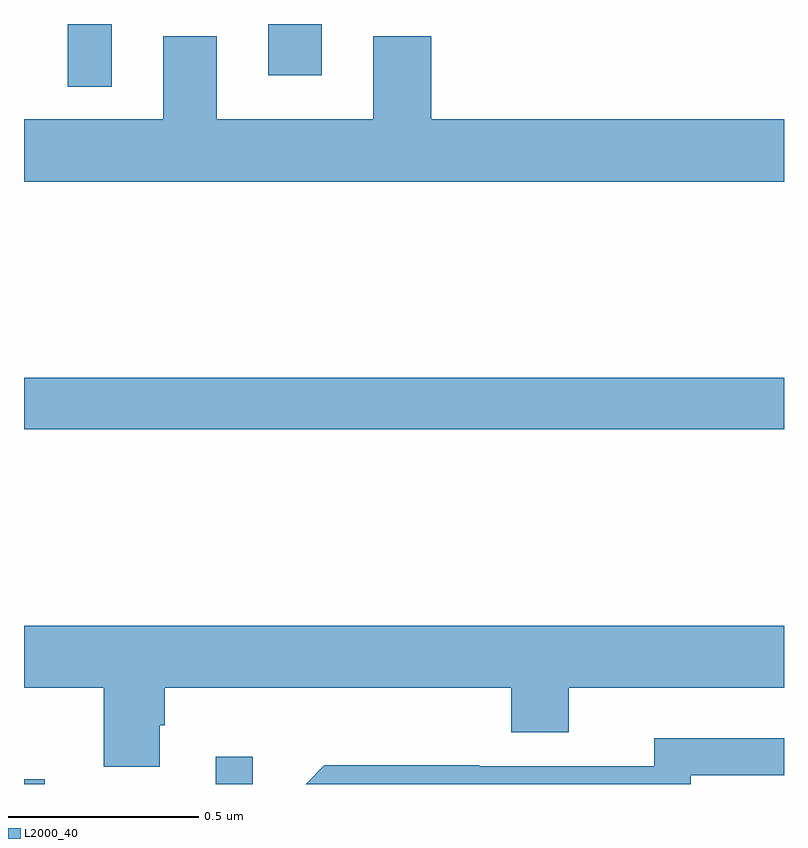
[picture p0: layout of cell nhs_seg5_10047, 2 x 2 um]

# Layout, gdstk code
import gdstk
lib = gdstk.Library(unit=1e-6, precision=1e-09)
def R(c, l, rs):  # rectangles x0, y0, x1, y1
    for r in rs: c.add(gdstk.rectangle(r[:2], r[2:], *l))
def P(c, l, *ps):  # polygons
    for p in ps: c.add(gdstk.Polygon(p, *l))
L2000_40 = (2000, 40)

nhs_seg5_10047 = lib.new_cell('nhs_seg5_10047')
R(nhs_seg5_10047, L2000_40, [(241,897.799,241.054,897.811), (241.505,897.799,241.602,897.871), (241,898.732,243,898.868), (241.115,899.634,241.231,899.799), (241.643,899.664,241.783,899.799)])
P(nhs_seg5_10047, L2000_40, [(243,899.548),(242.072,899.548),(242.072,899.767),(241.919,899.767),(241.919,899.548),(241.507,899.548),(241.507,899.767),(241.367,899.767),(241.367,899.548),(241,899.548),(241,899.384),(243,899.384)],
  [(241.357,897.954),(241.37,897.954),(241.37,898.052),(242.282,898.052),(242.282,897.935),(242.434,897.935),(242.434,898.052),(243,898.052),(243,898.216),(241,898.216),(241,898.052),(241.21,898.052),(241.21,897.844),(241.357,897.844)],
  [(242.754,897.822),(243,897.822),(243,897.919),(242.658,897.919),(242.658,897.846),(242.198,897.846),(242.198,897.848),(241.79,897.848),(241.741,897.799),(242.754,897.799)])

lib.write_gds('nhs_seg5_10047.gds')
